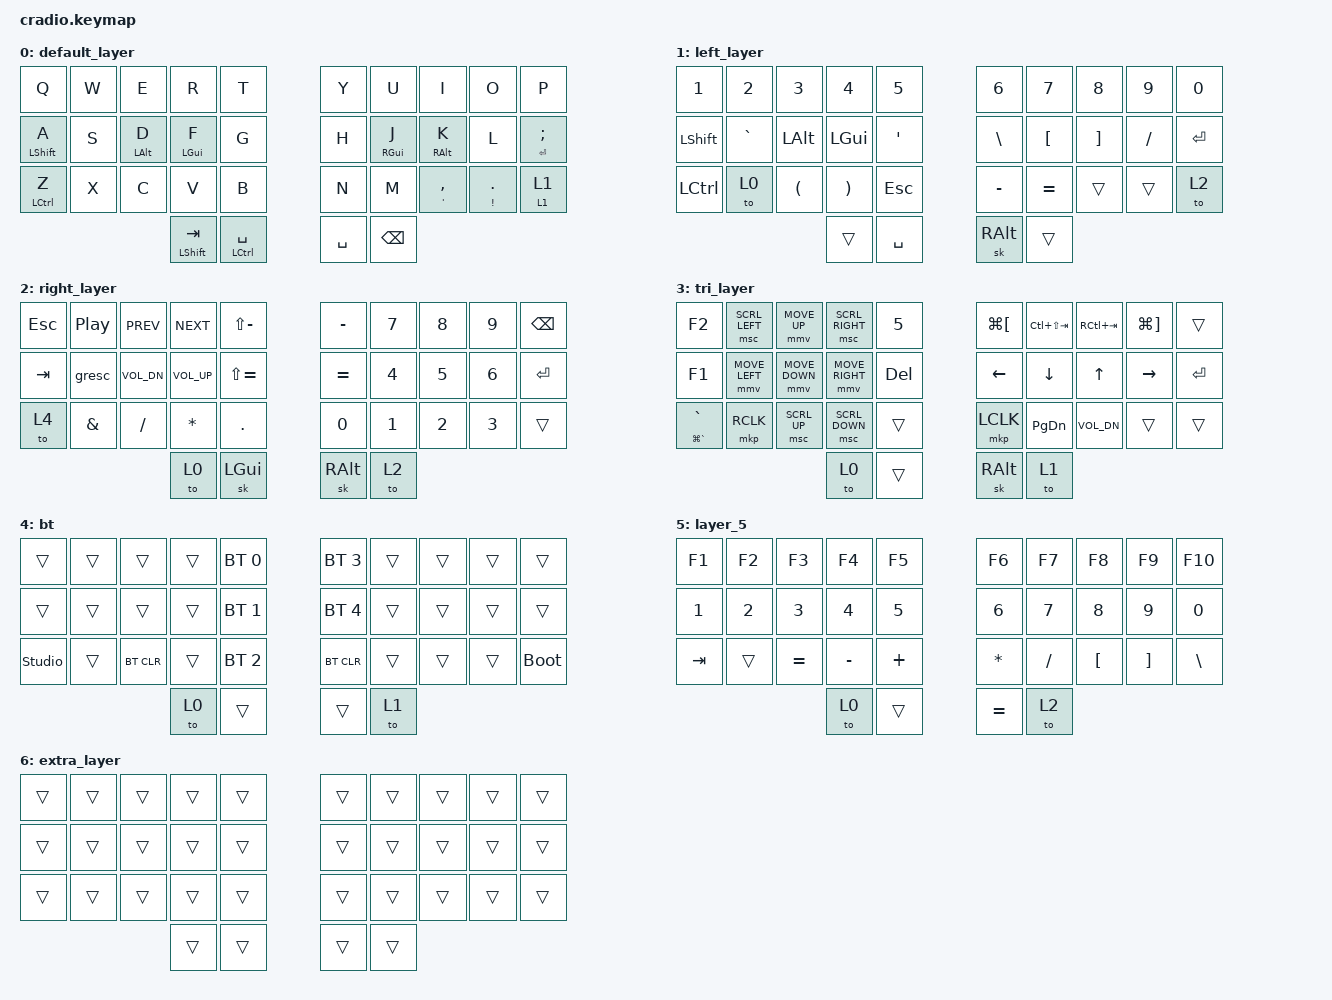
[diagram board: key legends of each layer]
/*
 * Copyright (c) 2020 The ZMK Contributors
 *
 * SPDX-License-Identifier: MIT
 */

#include <dt-bindings/zmk/mouse.h>
#include <behaviors.dtsi>
#include <dt-bindings/zmk/bt.h>
#include <dt-bindings/zmk/keys.h>
#include <dt-bindings/zmk/pointing.h>

&mt {
    flavor = "tap-preferred";
    tapping_term_ms = <200>;
};

&mmv {
    time-to-max-speed-ms = <680>;
    acceleration-exponent = <2>;
};

&lt {
};

/ {
    behaviors {
        hm: homerow_mods {
            compatible = "zmk,behavior-hold-tap";
            #binding-cells = <2>;
            tapping-term-ms = <200>;
            quick_tap_ms = <0>;
            flavor = "tap-preferred";
            bindings = <&kp>, <&kp>;
        };

        td: tapdance {
            compatible = "zmk,behavior-hold-tap";
            #binding-cells = <2>;
            tapping-term-ms = <150>;
            quick_tap_ms = <0>;
            flavor = "tap-preferred";
            bindings = <&kp>, <&kp>;
        };

        holdkp_tapto: holdkp_tapto {
            compatible = "zmk,behavior-hold-tap";
            #binding-cells = <2>;
            tapping-term-ms = <200>;
            quick_tap_ms = <0>;
            flavor = "tap-preferred";
            bindings = <&kp>, <&to>;

            label = "HOLDKP_TAPTO";
        };

        holdto_tapkp: holdto_tapkp {
            compatible = "zmk,behavior-hold-tap";
            label = "HOLDTO_TAPKP";
            bindings = <&to>, <&kp>;

            #binding-cells = <2>;
            flavor = "tap-preferred";
            tapping-term-ms = <150>;
        };

        holdto_tapmo: holdto_tapmo {
            compatible = "zmk,behavior-hold-tap";
            label = "HOLDTO_TAPMO";
            bindings = <&mo>, <&to>;

            #binding-cells = <2>;
            tapping-term-ms = <150>;
        };
    };

    combos {
        compatible = "zmk,combos";

        fn_1-0 {
            bindings = <&to 5>;
            key-positions = <30 33>;
        };

        reset_rt {
            bindings = <&sys_reset>;
            key-positions = <0 22 31>;
        };

        reset_lt {
            bindings = <&sys_reset>;
            key-positions = <9 17 32>;
        };

        bootloader_rt {
            bindings = <&bootloader>;
            key-positions = <0 12 31 4>;
        };

        bootloader_lt {
            bindings = <&bootloader>;
            key-positions = <9 17 32 5>;
        };
    };

    keymap {
        compatible = "zmk,keymap";

        default_layer {
            bindings = <
&kp Q             &kp W  &kp E       &kp R               &kp T                     &kp Y      &kp U          &kp I          &kp O         &kp P
&mt LEFT_SHIFT A  &kp S  &hm LALT D  &hm LGUI F          &kp G                     &kp H      &hm RGUI J     &hm RALT K     &kp L         &mt ENTER SEMICOLON
&mt LCTRL Z       &kp X  &kp C       &kp V               &kp B                     &kp N      &kp M          &mt SQT COMMA  &mt EXCL DOT  &holdto_tapmo 1 1
                                     &mt LEFT_SHIFT TAB  &mt LEFT_CONTROL SPACE    &kp SPACE  &kp BACKSPACE
            >;
        };

        left_layer {
            bindings = <
&kp N1          &kp N2     &kp N3                &kp NUMBER_4           &kp N5       &kp NUMBER_6  &kp N7            &kp N8             &kp N9     &kp N0
&kp LEFT_SHIFT  &kp GRAVE  &kp LEFT_ALT          &kp LEFT_GUI           &kp SQT      &kp BSLH      &kp LEFT_BRACKET  &kp RIGHT_BRACKET  &kp SLASH  &kp ENTER
&kp LCTRL       &to 0      &kp LEFT_PARENTHESIS  &kp RIGHT_PARENTHESIS  &kp ESC      &kp MINUS     &kp EQUAL         &trans             &trans     &to 2
                                                 &trans                 &kp SPACE    &sk RALT      &trans
            >;
        };

        right_layer {
            bindings = <
&kp ESC  &kp C_PP  &kp C_PREV    &kp C_NEXT    &kp LS(MINUS)    &kp MINUS  &kp N7  &kp N8  &kp N9  &kp BACKSPACE
&kp TAB  &gresc    &kp C_VOL_DN  &kp C_VOL_UP  &kp LS(EQUAL)    &kp EQUAL  &kp N4  &kp N5  &kp N6  &kp ENTER
&to 4    &kp AMPS  &kp SLASH     &kp STAR      &kp DOT          &kp N0     &kp N1  &kp N2  &kp N3  &trans
                                 &to 0         &sk LGUI         &sk RALT   &to 2
            >;
        };

        tri_layer {
            bindings = <
&kp F2               &msc SCRL_LEFT  &mmv MOVE_UP    &msc SCRL_RIGHT  &kp N5     &kp LG(LBKT)  &kp LC(LS(TAB))  &kp RC(TAB)   &kp LG(RBKT)  &trans
&kp F1               &mmv MOVE_LEFT  &mmv MOVE_DOWN  &mmv MOVE_RIGHT  &kp DEL    &kp LEFT      &kp DOWN         &kp UP        &kp RIGHT     &kp ENTER
&td LG(GRAVE) GRAVE  &mkp RCLK       &msc SCRL_UP    &msc SCRL_DOWN   &trans     &mkp LCLK     &kp PG_DN        &kp K_VOL_DN  &trans        &trans
                                                     &to 0            &trans     &sk RALT      &to 1
            >;
        };

        bt {
            bindings = <
&trans          &trans  &trans      &trans  &bt BT_SEL 0    &bt BT_SEL 3  &trans  &trans  &trans  &trans
&trans          &trans  &trans      &trans  &bt BT_SEL 1    &bt BT_SEL 4  &trans  &trans  &trans  &trans
&studio_unlock  &trans  &bt BT_CLR  &trans  &bt BT_SEL 2    &bt BT_CLR    &trans  &trans  &trans  &bootloader
                                    &to 0   &trans          &trans        &to 1
            >;
        };

        layer_5 {
            bindings = <
&kp F1   &kp F2  &kp F3     &kp F4     &kp F5      &kp F6     &kp F7    &kp F8    &kp F9    &kp F10
&kp N1   &kp N2  &kp N3     &kp N4     &kp N5      &kp N6     &kp N7    &kp N8    &kp N9    &kp N0
&kp TAB  &trans  &kp EQUAL  &kp MINUS  &kp PLUS    &kp STAR   &kp FSLH  &kp LBKT  &kp RBKT  &kp BSLH
                            &to 0      &trans      &kp EQUAL  &to 2
            >;
        };

        extra_layer {
            bindings = <
&trans  &trans  &trans  &trans  &trans    &trans  &trans  &trans  &trans  &trans
&trans  &trans  &trans  &trans  &trans    &trans  &trans  &trans  &trans  &trans
&trans  &trans  &trans  &trans  &trans    &trans  &trans  &trans  &trans  &trans
                        &trans  &trans    &trans  &trans
            >;
        };
    };
};
